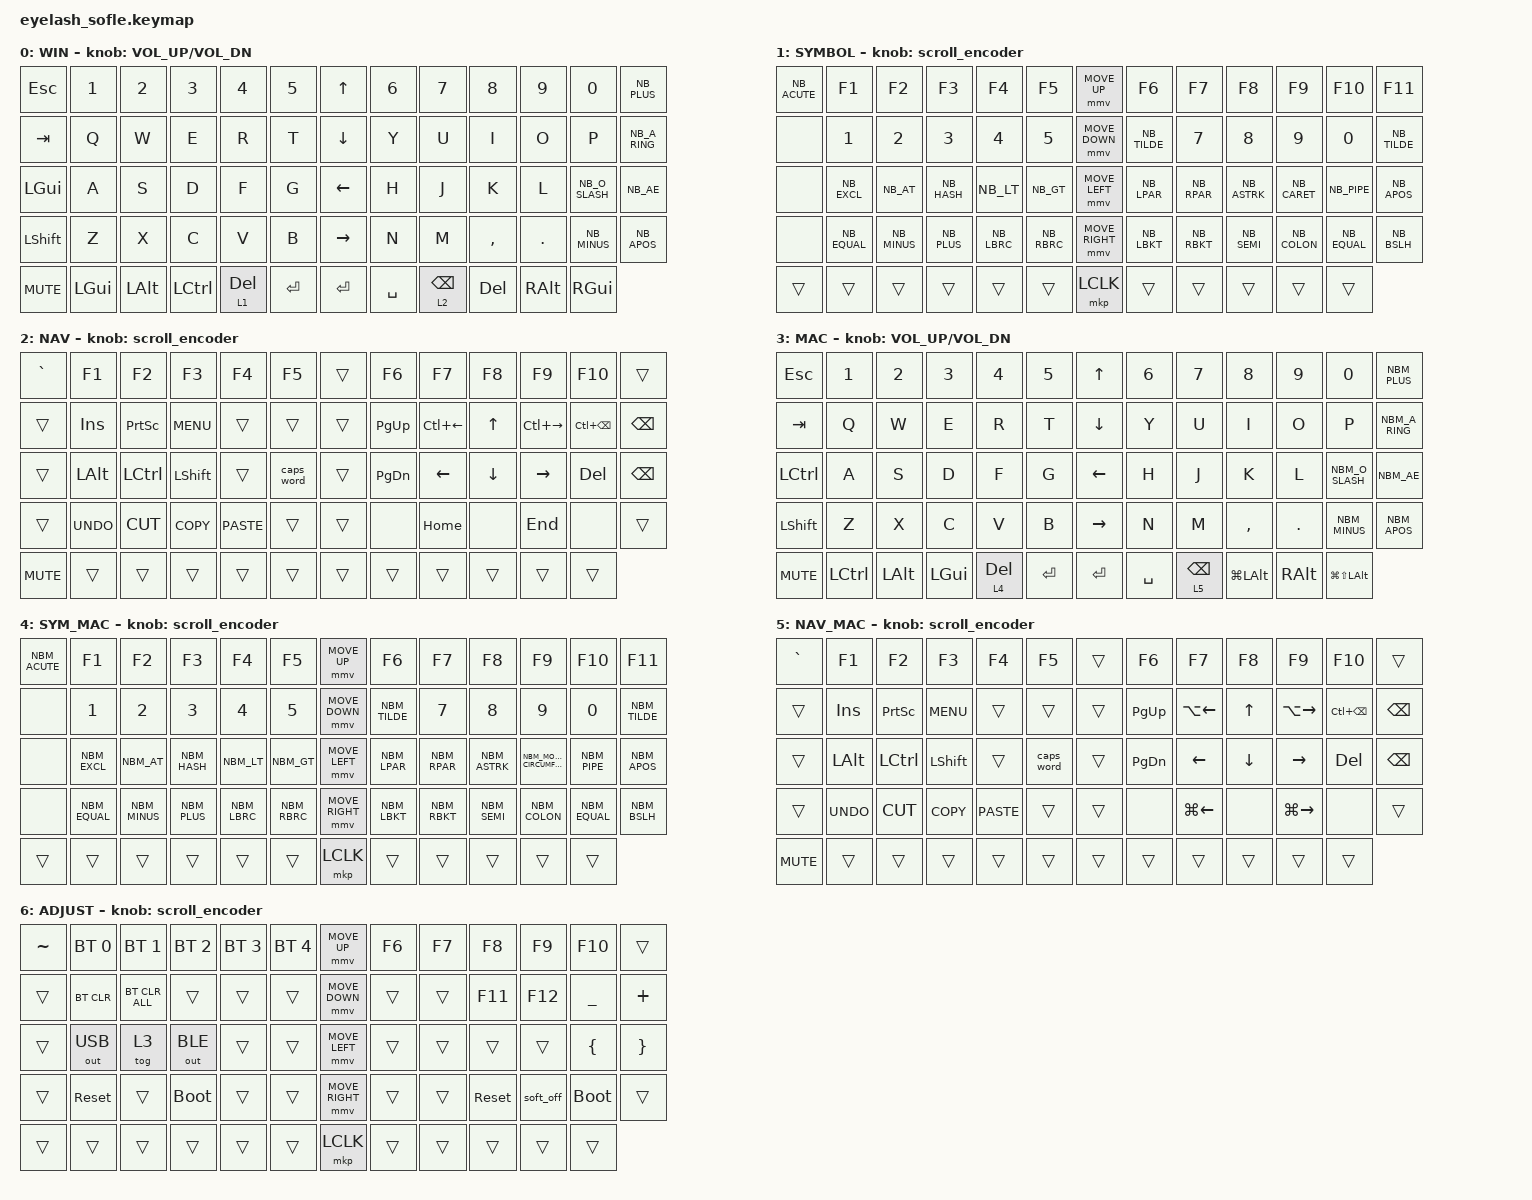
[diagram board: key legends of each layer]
#define ZMK_POINTING_DEFAULT_MOVE_VAL 1200  // 600
#define ZMK_POINTING_DEFAULT_SCRL_VAL 25   // 10

#include <input/processors.dtsi>
#include <zephyr/dt-bindings/input/input-event-codes.h>
#include <behaviors.dtsi>
#include <dt-bindings/zmk/bt.h>
#include <dt-bindings/zmk/ext_power.h>
#include <dt-bindings/zmk/keys.h>
#include <dt-bindings/zmk/pointing.h>
#include <dt-bindings/zmk/rgb.h>
#include <dt-bindings/zmk/outputs.h>
#include <dt-bindings/zmk/behaviors.h>
#include "keys_nb.h"
#include "keys_nb_mac.h"

&mmv_input_listener { input-processors = <&zip_xy_scaler 2 1>; };

&msc_input_listener { input-processors = <&zip_scroll_scaler 2 1>; };

&msc {
    acceleration-exponent = <1>;      // 0
    time-to-max-speed-ms = <100>;       // 300
    delay-ms = <0>;                   // 0
};

&mmv {
    time-to-max-speed-ms = <500>;
    acceleration-exponent = <1>;
    trigger-period-ms = <16>;
};


/ {

    scroll_encoder: scroll_encoder {
        compatible = "zmk,behavior-sensor-rotate";
        #sensor-binding-cells = <0>;
        bindings = <&msc SCRL_DOWN>, <&msc SCRL_UP>;
        tap-ms = <100>;
    };

     conditional_layers {
        compatible = "zmk,conditional-layers";
        tri_layer_win {
            if-layers = <1 2>;
            then-layer = <6>;
        };
        tri_layer_mac {
            if-layers = <4 5>;
            then-layer = <6>;
        };
    };

    behaviors {
        my_mt: my_mod_tap {
            compatible = "zmk,behavior-hold-tap";
            #binding-cells = <2>;
            flavor = "hold-preferred";
            tapping-term-ms = <150>;
            quick-tap-ms = <150>;
            bindings = <&mo>, <&kp>;
            display-name = "Layer-Tap";
            hold-while-undecided;
        };
    };

    keymap {
        compatible = "zmk,keymap";

        layer0 {
            bindings = <
&kp ESC         &kp N1          &kp N2        &kp N3        &kp N4            &kp N5           &kp UP_ARROW            &kp N6     &kp N7              &kp N8     &kp N9           &kp N0         &kp NB_PLUS
&kp TAB         &kp Q           &kp W         &kp E         &kp R             &kp T            &kp DOWN_ARROW          &kp Y      &kp U               &kp I      &kp O            &kp P          &kp NB_A_RING
&kp LEFT_GUI    &kp A           &kp S         &kp D         &kp F             &kp G            &kp LEFT_ARROW          &kp H      &kp J               &kp K      &kp L            &kp NB_O_SLASH &kp NB_AE
&kp LSHFT       &kp Z           &kp X         &kp C         &kp V             &kp B            &kp RIGHT_ARROW         &kp N      &kp M               &kp COMMA  &kp DOT          &kp NB_MINUS   &kp NB_APOS
&kp C_MUTE      &kp LEFT_GUI    &kp LEFT_ALT  &kp LCTRL     &my_mt 1 DELETE   &kp ENTER        &kp ENTER               &kp SPACE  &my_mt 2 BACKSPACE  &kp DELETE &kp RIGHT_ALT    &kp RIGHT_GUI
            >;

            sensor-bindings = <&inc_dec_kp C_VOLUME_UP C_VOL_DN>;
            display-name = "WIN";
        };

        layer_1 {
            bindings = <
&kp NB_ACUTE  &kp F1       &kp F2       &kp F3          &kp F4         &kp F5            &mmv MOVE_UP             &kp F6       &kp F7        &kp F8        &kp F9       &kp F10      &kp F11
&none         &kp N1       &kp N2       &kp N3          &kp N4         &kp N5            &mmv MOVE_DOWN           &kp NB_TILDE &kp N7        &kp N8        &kp N9       &kp N0       &kp NB_TILDE
&none         &kp NB_EXCL  &kp NB_AT    &kp NB_HASH     &kp NB_LT      &kp NB_GT         &mmv MOVE_LEFT           &kp NB_LPAR  &kp NB_RPAR   &kp NB_ASTRK  &kp NB_CARET &kp NB_PIPE  &kp NB_APOS
&none         &kp NB_EQUAL &kp NB_MINUS &kp NB_PLUS     &kp NB_LBRC    &kp NB_RBRC       &mmv MOVE_RIGHT          &kp NB_LBKT  &kp NB_RBKT   &kp NB_SEMI   &kp NB_COLON &kp NB_EQUAL &kp NB_BSLH
&trans        &trans       &trans       &trans          &trans         &trans            &mkp LCLK                &trans       &trans        &trans        &trans       &trans
            >;

            display-name = "SYMBOL";
            sensor-bindings = <&scroll_encoder>;
        };

        layer_2 {
            bindings = <
&kp GRAVE   &kp F1         &kp F2          &kp F3           &kp F4           &kp F5             &trans        &kp F6       &kp F7         &kp F8      &kp F9          &kp F10           &trans
&trans      &kp INSERT     &kp PSCRN       &kp K_MENU       &trans           &trans             &trans        &kp PG_UP    &kp LC(LEFT)   &kp UP      &kp LC(RIGHT)   &kp LC(BACKSPACE) &kp BACKSPACE
&trans      &kp LALT       &kp LCTRL       &kp LSHFT        &trans           &caps_word         &trans        &kp PG_DN    &kp LEFT       &kp DOWN    &kp RIGHT       &kp DELETE        &kp BACKSPACE
&trans      &kp K_UNDO     &kp K_CUT       &kp K_COPY       &kp K_PASTE      &trans             &trans        &none        &kp HOME       &none       &kp END         &none             &trans
&kp C_MUTE  &trans         &trans          &trans           &trans           &trans             &trans        &trans       &trans         &trans      &trans          &trans
            >;

            display-name = "NAV";
            sensor-bindings = <&scroll_encoder>;
        };

        layer_3 {
              bindings = <
&kp ESC         &kp N1          &kp N2        &kp N3        &kp N4            &kp N5           &kp UP_ARROW            &kp N6     &kp N7              &kp N8     &kp N9           &kp N0           &kp NBM_PLUS
&kp TAB         &kp Q           &kp W         &kp E         &kp R             &kp T            &kp DOWN_ARROW          &kp Y      &kp U               &kp I      &kp O            &kp P            &kp NBM_A_RING
&kp LCTRL       &kp A           &kp S         &kp D         &kp F             &kp G            &kp LEFT_ARROW          &kp H      &kp J               &kp K      &kp L            &kp NBM_O_SLASH  &kp NBM_AE
&kp LSHFT       &kp Z           &kp X         &kp C         &kp V             &kp B            &kp RIGHT_ARROW         &kp N      &kp M               &kp COMMA  &kp DOT          &kp NBM_MINUS    &kp NBM_APOS
&kp C_MUTE      &kp LCTRL    &kp LEFT_ALT  &kp LEFT_GUI  &my_mt 4 DELETE   &kp ENTER        &kp ENTER               &kp SPACE  &my_mt 5 BACKSPACE  &kp LG(LALT) &kp RIGHT_ALT    &kp LG(LS(LALT))
            >;

            sensor-bindings = <&inc_dec_kp C_VOLUME_UP C_VOL_DN>;
            display-name = "MAC";
        };

        layer_4 {
            bindings = <
&kp NBM_ACUTE   &kp F1          &kp F2          &kp F3              &kp F4          &kp F5            &mmv MOVE_UP             &kp F6                   &kp F7          &kp F8          &kp F9                       &kp F10         &kp F11
&none           &kp N1          &kp N2          &kp N3              &kp N4          &kp N5            &mmv MOVE_DOWN           &kp NBM_TILDE            &kp N7          &kp N8          &kp N9                       &kp N0          &kp NBM_TILDE
&none           &kp NBM_EXCL    &kp NBM_AT      &kp NBM_HASH        &kp NBM_LT      &kp NBM_GT        &mmv MOVE_LEFT           &kp NBM_LPAR             &kp NBM_RPAR    &kp NBM_ASTRK   &kp NBM_MODIFIER_CIRCUMFLEX  &kp NBM_PIPE    &kp NBM_APOS
&none           &kp NBM_EQUAL   &kp NBM_MINUS   &kp NBM_PLUS        &kp NBM_LBRC    &kp NBM_RBRC      &mmv MOVE_RIGHT          &kp NBM_LBKT             &kp NBM_RBKT    &kp NBM_SEMI    &kp NBM_COLON                &kp NBM_EQUAL   &kp NBM_BSLH
&trans          &trans          &trans          &trans              &trans          &trans            &mkp LCLK                &trans                   &trans          &trans          &trans                       &trans
            >;

            display-name = "SYM_MAC";
            sensor-bindings = <&scroll_encoder>;
        };

        layer_5 {
            bindings = <
&kp GRAVE   &kp F1         &kp F2          &kp F3           &kp F4           &kp F5             &trans        &kp F6       &kp F7         &kp F8      &kp F9          &kp F10             &trans
&trans      &kp INSERT     &kp PSCRN       &kp K_MENU       &trans           &trans             &trans        &kp PG_UP    &kp LA(LEFT)   &kp UP      &kp LA(RIGHT)   &kp LC(BACKSPACE)   &kp BACKSPACE
&trans      &kp LALT       &kp LCTRL       &kp LSHFT        &trans           &caps_word         &trans        &kp PG_DN    &kp LEFT       &kp DOWN    &kp RIGHT       &kp DELETE          &kp BACKSPACE
&trans      &kp K_UNDO     &kp K_CUT       &kp K_COPY       &kp K_PASTE      &trans             &trans        &none        &kp LG(LEFT)   &none       &kp LG(RIGHT)   &none               &trans
&kp C_MUTE  &trans         &trans          &trans           &trans           &trans             &trans        &trans       &trans         &trans      &trans          &trans
            >;

            display-name = "NAV_MAC";
            sensor-bindings = <&scroll_encoder>;
        };

        layer_6 {
            bindings = <
&kp TILDE  &bt BT_SEL 0  &bt BT_SEL 1    &bt BT_SEL 2  &bt BT_SEL 3  &bt BT_SEL 4    &mmv MOVE_UP     &kp F6  &kp F7  &kp F8      &kp F9     &kp F10      &trans
&trans     &bt BT_CLR    &bt BT_CLR_ALL  &trans        &trans        &trans          &mmv MOVE_DOWN   &trans  &trans  &kp F11     &kp F12    &kp UNDER    &kp PLUS
&trans     &out OUT_USB  &tog 3           &out OUT_BLE  &trans        &trans          &mmv MOVE_LEFT   &trans  &trans  &trans      &trans     &kp LBRC     &kp RBRC
&trans     &sys_reset    &trans          &bootloader   &trans        &trans          &mmv MOVE_RIGHT  &trans  &trans  &sys_reset  &soft_off  &bootloader  &trans
&trans     &trans        &trans          &trans        &trans        &trans          &mkp LCLK        &trans  &trans  &trans      &trans     &trans
            >;

            sensor-bindings = <&scroll_encoder>;
            display-name = "ADJUST";
        };
    };
};
